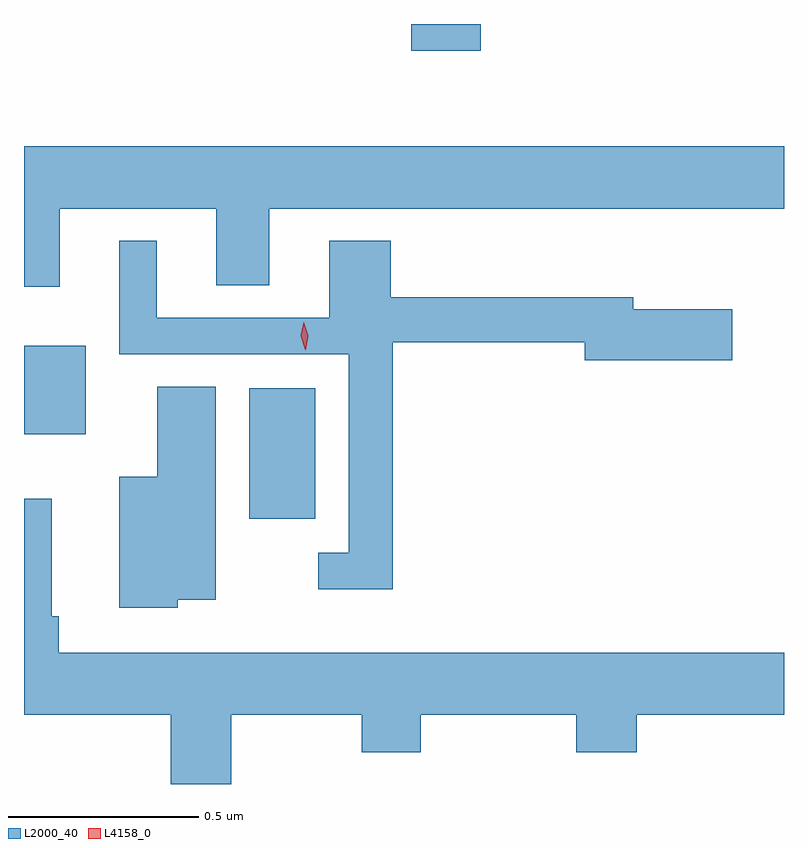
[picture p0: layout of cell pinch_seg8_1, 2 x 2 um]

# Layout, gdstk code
import gdstk
lib = gdstk.Library(unit=1e-6, precision=1e-09)
def R(c, l, rs):  # rectangles x0, y0, x1, y1
    for r in rs: c.add(gdstk.rectangle(r[:2], r[2:], *l))
def P(c, l, *ps):  # polygons
    for p in ps: c.add(gdstk.Polygon(p, *l))
L2000_40 = (2000, 40)
L4158_0 = (4158, 0)

pinch_seg8_1 = lib.new_cell('pinch_seg8_1')
R(pinch_seg8_1, L2000_40, [(1009.172,1127.672,1009.345,1128.016), (1008.579,1127.894,1008.742,1128.127), (1009.598,1128.903,1009.781,1128.974)])
P(pinch_seg8_1, L2000_40, [(1008.673,1128.488),(1009.085,1128.488),(1009.085,1128.286),(1009.225,1128.286),(1009.225,1128.488),(1010.579,1128.488),(1010.579,1128.652),(1008.579,1128.652),(1008.579,1128.282),(1008.673,1128.282)],
  [(1009.55,1128.136),(1010.054,1128.136),(1010.054,1128.089),(1010.443,1128.089),(1010.443,1128.223),(1010.182,1128.223),(1010.182,1128.255),(1009.544,1128.255),(1009.544,1128.403),(1009.382,1128.403),(1009.382,1128.201),(1008.928,1128.201),(1008.928,1128.403),(1008.83,1128.403),(1008.83,1128.105),(1009.434,1128.105),(1009.434,1127.583),(1009.353,1127.583),(1009.353,1127.486),(1009.55,1127.486)],
  [(1008.984,1127.459),(1009.084,1127.459),(1009.084,1128.02),(1008.929,1128.02),(1008.929,1127.782),(1008.83,1127.782),(1008.83,1127.438),(1008.984,1127.438)],
  [(1009.125,1127.156),(1009.468,1127.156),(1009.468,1127.057),(1009.623,1127.057),(1009.623,1127.156),(1010.032,1127.156),(1010.032,1127.057),(1010.192,1127.057),(1010.192,1127.156),(1010.579,1127.156),(1010.579,1127.32),(1008.671,1127.32),(1008.671,1127.416),(1008.652,1127.416),(1008.652,1127.725),(1008.579,1127.725),(1008.579,1127.156),(1008.965,1127.156),(1008.965,1126.974),(1009.125,1126.974)])
P(pinch_seg8_1, L4158_0, [(1009.319,1128.117),(1009.307,1128.153),(1009.315,1128.189),(1009.315,1128.189),(1009.315,1128.189),(1009.327,1128.154),(1009.32,1128.117),(1009.32,1128.117)])

lib.write_gds('pinch_seg8_1.gds')
